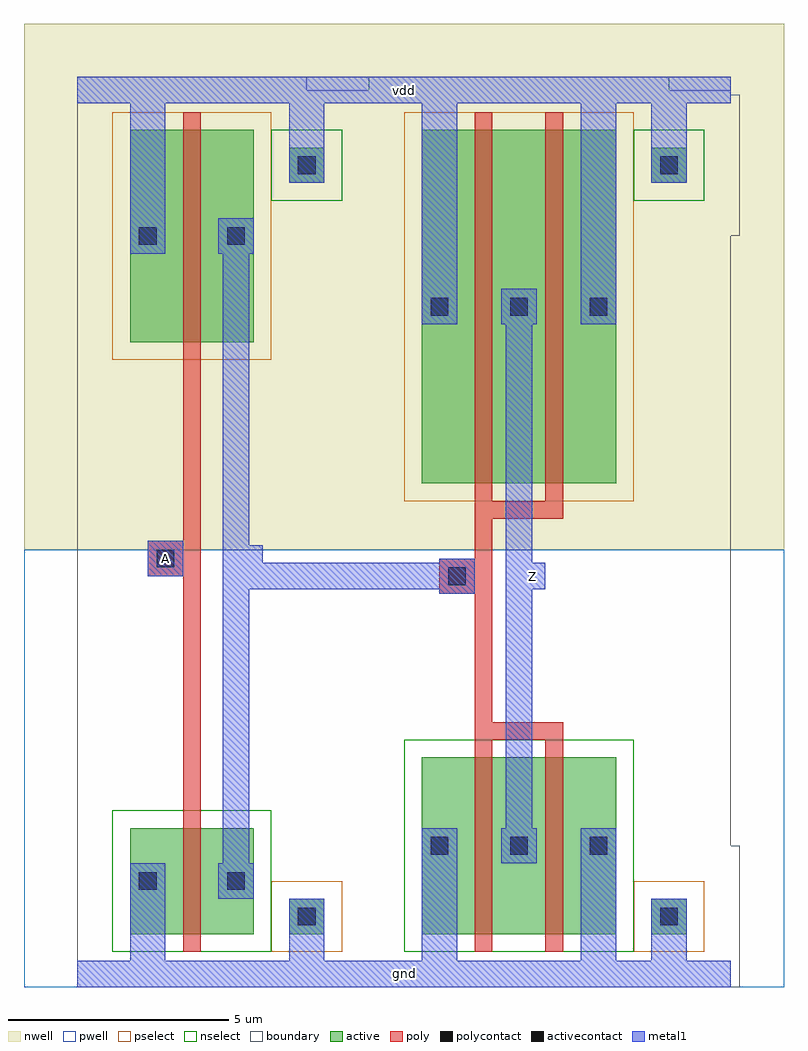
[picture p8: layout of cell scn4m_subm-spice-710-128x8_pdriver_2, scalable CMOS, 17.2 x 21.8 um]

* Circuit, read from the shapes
.subckt scn4m_subm-spice-710-128x8_pdriver_2 A Z gnd vdd
M1 scn4m_subm-spice-710-128x8_pinv_12_1/A A gnd gnd nfet w=2.4u l=0.4u
M2 Z scn4m_subm-spice-710-128x8_pinv_12_1/A gnd gnd nfet w=4u l=0.4u m=2
M3 scn4m_subm-spice-710-128x8_pinv_12_1/A A vdd vdd pfet w=4.8u l=0.4u
M4 Z scn4m_subm-spice-710-128x8_pinv_12_1/A vdd vdd pfet w=8u l=0.4u m=2
.ends

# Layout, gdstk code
import gdstk
lib = gdstk.Library(unit=1e-6, precision=1e-09)
def R(c, l, rs):  # rectangles x0, y0, x1, y1
    for r in rs: c.add(gdstk.rectangle(r[:2], r[2:], *l))
def A(c, l, x, y, w, h, nx, ny, dx, dy):  # array of equal rectangles
    R(c, l, [(x+i*dx, y+j*dy, x+i*dx+w, y+j*dy+h) for i in range(nx) for j in range(ny)])
pwell = (41, 0)
nwell = (42, 0)
active = (43, 0)
pselect = (44, 0)
nselect = (45, 0)
poly = (46, 0)
polycontact = (47, 0)
activecontact = (48, 0)
metal1 = (49, 0)
boundary = (63, 0)

scn4m_subm_spice_710_128 = lib.new_cell('scn4m_subm-spice-710-128x8_contact_12')
R(scn4m_subm_spice_710_128, nwell, [(-1.2,-1.2,2,2)])
R(scn4m_subm_spice_710_128, active, [(0,0,0.8,0.8)])
R(scn4m_subm_spice_710_128, pselect, [(-0.4,-0.4,1.2,1.2)])
R(scn4m_subm_spice_710_128, activecontact, [(0.2,0.2,0.6,0.6)])
R(scn4m_subm_spice_710_128, metal1, [(0,0,0.8,0.8)])
R(scn4m_subm_spice_710_128, boundary, [(-1.2,-1.2,2,2)])

c_scn4m_subm_spice_710_128 = lib.new_cell('scn4m_subm-spice-710-128x8_pmos_m1_w4_800_sm1_dm1_da_p')
R(c_scn4m_subm_spice_710_128, nwell, [(-1.2,-1.2,4,6)])
R(c_scn4m_subm_spice_710_128, active, [(0,0,2.8,4.8)])
R(c_scn4m_subm_spice_710_128, pselect, [(-0.4,-0.4,3.2,5.2)])
R(c_scn4m_subm_spice_710_128, poly, [(1.2,-0.4,1.6,5.2), (1.2,-0.4,1.6,5.2)])
R(c_scn4m_subm_spice_710_128, metal1, [(0,2,0.8,2.8), (2,2,2.8,2.8)])
R(c_scn4m_subm_spice_710_128, boundary, [(-1.2,-1.2,4,6)])
c_scn4m_subm_spice_710_128.add(gdstk.Reference(scn4m_subm_spice_710_128, (0,2)))
c_scn4m_subm_spice_710_128.add(gdstk.Reference(scn4m_subm_spice_710_128, (2,2)))
c_scn4m_subm_spice_710_128.add(gdstk.Label('G', (1.4,2.4), layer=46, texttype=0))
c_scn4m_subm_spice_710_128.add(gdstk.Label('S', (0.4,2.4), layer=49, texttype=0))
c_scn4m_subm_spice_710_128.add(gdstk.Label('D', (2.4,2.4), layer=49, texttype=0))

c_scn4m_subm_spice_710_128_ = lib.new_cell('scn4m_subm-spice-710-128x8_contact_11')
R(c_scn4m_subm_spice_710_128_, pwell, [(-1.2,-1.2,2,2)])
R(c_scn4m_subm_spice_710_128_, active, [(0,0,0.8,0.8)])
R(c_scn4m_subm_spice_710_128_, nselect, [(-0.4,-0.4,1.2,1.2)])
R(c_scn4m_subm_spice_710_128_, activecontact, [(0.2,0.2,0.6,0.6)])
R(c_scn4m_subm_spice_710_128_, metal1, [(0,0,0.8,0.8)])
R(c_scn4m_subm_spice_710_128_, boundary, [(-1.2,-1.2,2,2)])

c_scn4m_subm_spice_710_128__ = lib.new_cell('scn4m_subm-spice-710-128x8_nmos_m1_w2_400_sm1_dm1_da_p')
R(c_scn4m_subm_spice_710_128__, pwell, [(-1.2,-1.2,4,3.6)])
R(c_scn4m_subm_spice_710_128__, active, [(0,0,2.8,2.4)])
R(c_scn4m_subm_spice_710_128__, nselect, [(-0.4,-0.4,3.2,2.8)])
R(c_scn4m_subm_spice_710_128__, poly, [(1.2,-0.4,1.6,2.8), (1.2,-0.4,1.6,2.8)])
R(c_scn4m_subm_spice_710_128__, metal1, [(0,0.8,0.8,1.6), (2,0.8,2.8,1.6)])
R(c_scn4m_subm_spice_710_128__, boundary, [(-1.2,-1.2,4,3.6)])
c_scn4m_subm_spice_710_128__.add(gdstk.Reference(c_scn4m_subm_spice_710_128_, (0,0.8)))
c_scn4m_subm_spice_710_128__.add(gdstk.Reference(c_scn4m_subm_spice_710_128_, (2,0.8)))
c_scn4m_subm_spice_710_128__.add(gdstk.Label('G', (1.4,1.2), layer=46, texttype=0))
c_scn4m_subm_spice_710_128__.add(gdstk.Label('S', (0.4,1.2), layer=49, texttype=0))
c_scn4m_subm_spice_710_128__.add(gdstk.Label('D', (2.4,1.2), layer=49, texttype=0))

c_scn4m_subm_spice_710_128___ = lib.new_cell('scn4m_subm-spice-710-128x8_contact_13')
R(c_scn4m_subm_spice_710_128___, nwell, [(-1.2,-1.2,2,2)])
R(c_scn4m_subm_spice_710_128___, active, [(0,0,0.8,0.8)])
R(c_scn4m_subm_spice_710_128___, nselect, [(-0.4,-0.4,1.2,1.2)])
R(c_scn4m_subm_spice_710_128___, activecontact, [(0.2,0.2,0.6,0.6)])
R(c_scn4m_subm_spice_710_128___, metal1, [(0,0,0.8,0.8)])
R(c_scn4m_subm_spice_710_128___, boundary, [(-1.2,-1.2,2,2)])

c_scn4m_subm_spice_710_128____ = lib.new_cell('scn4m_subm-spice-710-128x8_contact_14')
R(c_scn4m_subm_spice_710_128____, pwell, [(-1.2,-1.2,2,2)])
R(c_scn4m_subm_spice_710_128____, active, [(0,0,0.8,0.8)])
R(c_scn4m_subm_spice_710_128____, pselect, [(-0.4,-0.4,1.2,1.2)])
R(c_scn4m_subm_spice_710_128____, activecontact, [(0.2,0.2,0.6,0.6)])
R(c_scn4m_subm_spice_710_128____, metal1, [(0,0,0.8,0.8)])
R(c_scn4m_subm_spice_710_128____, boundary, [(-1.2,-1.2,2,2)])

c_scn4m_subm_spice_710_128_____ = lib.new_cell('scn4m_subm-spice-710-128x8_contact_15')
R(c_scn4m_subm_spice_710_128_____, poly, [(0,0,0.8,0.8)])
R(c_scn4m_subm_spice_710_128_____, polycontact, [(0.2,0.2,0.6,0.6)])
R(c_scn4m_subm_spice_710_128_____, metal1, [(0,0,0.8,0.8)])
R(c_scn4m_subm_spice_710_128_____, boundary, [(0,0,0.8,0.8)])

c_scn4m_subm_spice_710_128______ = lib.new_cell('scn4m_subm-spice-710-128x8_pinv_11')
R(c_scn4m_subm_spice_710_128______, pwell, [(-1.2,-0.3,7.8,9.6)])
R(c_scn4m_subm_spice_710_128______, nwell, [(-1.2,9.6,7.8,21.5)])
R(c_scn4m_subm_spice_710_128______, poly, [(2.4,3.7,2.8,13.9), (2,9,2.4,9.8)])
R(c_scn4m_subm_spice_710_128______, metal1, [(0,-0.3,6.6,0.3), (1.2,-0.3,2,1.7), (4.8,0,5.6,1.3), (3.3,1.7,3.9,17.1), (1.6,9,2.4,9.8), (3.6,9.1,4.2,9.7), (1.2,16.3,2,20.3), (4.8,18.3,5.6,20), (0,19.7,6.6,20.3)])
R(c_scn4m_subm_spice_710_128______, boundary, [(0,0,6.6,20), (0,0,6.6,20)])
c_scn4m_subm_spice_710_128______.add(gdstk.Reference(c_scn4m_subm_spice_710_128, (1.2,14.3)))
c_scn4m_subm_spice_710_128______.add(gdstk.Reference(c_scn4m_subm_spice_710_128__, (1.2,0.9)))
c_scn4m_subm_spice_710_128______.add(gdstk.Reference(c_scn4m_subm_spice_710_128___, (4.8,17.9)))
c_scn4m_subm_spice_710_128______.add(gdstk.Reference(c_scn4m_subm_spice_710_128____, (4.8,0.9)))
c_scn4m_subm_spice_710_128______.add(gdstk.Reference(c_scn4m_subm_spice_710_128_____, (1.6,9)))
c_scn4m_subm_spice_710_128______.add(gdstk.Label('A', (2,9.4), layer=49, texttype=0))
c_scn4m_subm_spice_710_128______.add(gdstk.Label('Z', (3.9,9.4), layer=49, texttype=0))
c_scn4m_subm_spice_710_128______.add(gdstk.Label('gnd', (3.3,0), layer=49, texttype=0))
c_scn4m_subm_spice_710_128______.add(gdstk.Label('vdd', (3.3,20), layer=49, texttype=0))

c_scn4m_subm_spice_710_128_______ = lib.new_cell('scn4m_subm-spice-710-128x8_pmos_m2_w8_000_sm1_dm1_da_p')
R(c_scn4m_subm_spice_710_128_______, nwell, [(-1.2,-1.2,5.6,9.2)])
R(c_scn4m_subm_spice_710_128_______, active, [(0,0,4.4,8)])
R(c_scn4m_subm_spice_710_128_______, pselect, [(-0.4,-0.4,4.8,8.4)])
R(c_scn4m_subm_spice_710_128_______, poly, [(1.2,-0.8,3.2,-0.4), (1.2,-0.4,1.6,8.4), (2.8,-0.4,3.2,8.4)])
A(c_scn4m_subm_spice_710_128_______, metal1, 0, 3.6, 0.8, 0.8, 3, 1, 1.8, 0)
R(c_scn4m_subm_spice_710_128_______, boundary, [(-1.2,-1.2,5.6,9.2)])
c_scn4m_subm_spice_710_128_______.add(gdstk.Reference(scn4m_subm_spice_710_128, (0,3.6)))
c_scn4m_subm_spice_710_128_______.add(gdstk.Reference(scn4m_subm_spice_710_128, (1.8,3.6)))
c_scn4m_subm_spice_710_128_______.add(gdstk.Reference(scn4m_subm_spice_710_128, (3.6,3.6)))
c_scn4m_subm_spice_710_128_______.add(gdstk.Label('G', (2.2,-0.6), layer=46, texttype=0))
c_scn4m_subm_spice_710_128_______.add(gdstk.Label('S', (4,4), layer=49, texttype=0))
c_scn4m_subm_spice_710_128_______.add(gdstk.Label('S', (0.4,4), layer=49, texttype=0))
c_scn4m_subm_spice_710_128_______.add(gdstk.Label('D', (2.2,4), layer=49, texttype=0))

c_scn4m_subm_spice_710_128________ = lib.new_cell('scn4m_subm-spice-710-128x8_nmos_m2_w4_000_sm1_dm1_da_p')
R(c_scn4m_subm_spice_710_128________, pwell, [(-1.2,-1.2,5.6,5.2)])
R(c_scn4m_subm_spice_710_128________, active, [(0,0,4.4,4)])
R(c_scn4m_subm_spice_710_128________, nselect, [(-0.4,-0.4,4.8,4.4)])
R(c_scn4m_subm_spice_710_128________, poly, [(1.2,-0.4,1.6,4.4), (2.8,-0.4,3.2,4.4), (1.2,4.4,3.2,4.8)])
A(c_scn4m_subm_spice_710_128________, metal1, 0, 1.6, 0.8, 0.8, 3, 1, 1.8, 0)
R(c_scn4m_subm_spice_710_128________, boundary, [(-1.2,-1.2,5.6,5.2)])
c_scn4m_subm_spice_710_128________.add(gdstk.Reference(c_scn4m_subm_spice_710_128_, (0,1.6)))
c_scn4m_subm_spice_710_128________.add(gdstk.Reference(c_scn4m_subm_spice_710_128_, (1.8,1.6)))
c_scn4m_subm_spice_710_128________.add(gdstk.Reference(c_scn4m_subm_spice_710_128_, (3.6,1.6)))
c_scn4m_subm_spice_710_128________.add(gdstk.Label('G', (2.2,4.6), layer=46, texttype=0))
c_scn4m_subm_spice_710_128________.add(gdstk.Label('S', (4,2), layer=49, texttype=0))
c_scn4m_subm_spice_710_128________.add(gdstk.Label('S', (0.4,2), layer=49, texttype=0))
c_scn4m_subm_spice_710_128________.add(gdstk.Label('D', (2.2,2), layer=49, texttype=0))

c_scn4m_subm_spice_710_128_________ = lib.new_cell('scn4m_subm-spice-710-128x8_pinv_12')
R(c_scn4m_subm_spice_710_128_________, pwell, [(-1.2,-0.3,9.4,9.6)])
R(c_scn4m_subm_spice_710_128_________, nwell, [(-1.2,9.6,9.4,21.5)])
R(c_scn4m_subm_spice_710_128_________, poly, [(2.4,5.7,2.8,10.3), (2,8.6,2.4,9.4)])
R(c_scn4m_subm_spice_710_128_________, metal1, [(0,-0.3,8.2,0.3), (1.2,-0.3,2,2.5), (4.8,-0.3,5.6,2.5), (6.4,0,7.2,1.3), (3.1,2.5,3.7,15.5), (1.6,8.6,2.4,9.4), (3.4,8.7,4,9.3), (1.2,14.7,2,20.3), (4.8,14.7,5.6,20.3), (6.4,18.3,7.2,20), (0,19.7,8.2,20.3)])
R(c_scn4m_subm_spice_710_128_________, boundary, [(0,0,8.2,20), (0,0,8.2,20)])
c_scn4m_subm_spice_710_128_________.add(gdstk.Reference(c_scn4m_subm_spice_710_128_______, (1.2,11.1)))
c_scn4m_subm_spice_710_128_________.add(gdstk.Reference(c_scn4m_subm_spice_710_128________, (1.2,0.9)))
c_scn4m_subm_spice_710_128_________.add(gdstk.Reference(c_scn4m_subm_spice_710_128___, (6.4,17.9)))
c_scn4m_subm_spice_710_128_________.add(gdstk.Reference(c_scn4m_subm_spice_710_128____, (6.4,0.9)))
c_scn4m_subm_spice_710_128_________.add(gdstk.Reference(c_scn4m_subm_spice_710_128_____, (1.6,8.6)))
c_scn4m_subm_spice_710_128_________.add(gdstk.Label('A', (2,9), layer=49, texttype=0))
c_scn4m_subm_spice_710_128_________.add(gdstk.Label('Z', (3.7,9), layer=49, texttype=0))
c_scn4m_subm_spice_710_128_________.add(gdstk.Label('gnd', (4.1,0), layer=49, texttype=0))
c_scn4m_subm_spice_710_128_________.add(gdstk.Label('vdd', (4.1,20), layer=49, texttype=0))

c_scn4m_subm_spice_710_128__________ = lib.new_cell('scn4m_subm-spice-710-128x8_pdriver_2')
R(c_scn4m_subm_spice_710_128__________, pwell, [(-1.2,-0.3,16,9.6)])
R(c_scn4m_subm_spice_710_128__________, nwell, [(-1.2,9.6,16,21.5)])
R(c_scn4m_subm_spice_710_128__________, metal1, [(0,-0.3,14.8,0.3), (3.6,8.7,4.2,9.3), (3.9,8.7,8.6,9.3), (10,8.7,10.6,9.3), (1.6,9,2.4,9.8), (3.6,9,4.2,9.4), (0,19.7,14.8,20.3)])
R(c_scn4m_subm_spice_710_128__________, boundary, [(0,0,14.8,20), (0,0,14.8,20)])
c_scn4m_subm_spice_710_128__________.add(gdstk.Reference(c_scn4m_subm_spice_710_128______, (0,0)))
c_scn4m_subm_spice_710_128__________.add(gdstk.Reference(c_scn4m_subm_spice_710_128_________, (6.6,0)))
c_scn4m_subm_spice_710_128__________.add(gdstk.Label('Z', (10.3,9), layer=49, texttype=0))
c_scn4m_subm_spice_710_128__________.add(gdstk.Label('A', (2,9.4), layer=49, texttype=0))
c_scn4m_subm_spice_710_128__________.add(gdstk.Label('gnd', (7.4,0), layer=49, texttype=0))
c_scn4m_subm_spice_710_128__________.add(gdstk.Label('vdd', (7.4,20), layer=49, texttype=0))

lib.write_gds('scn4m_subm-spice-710-128x8_pdriver_2.gds')
